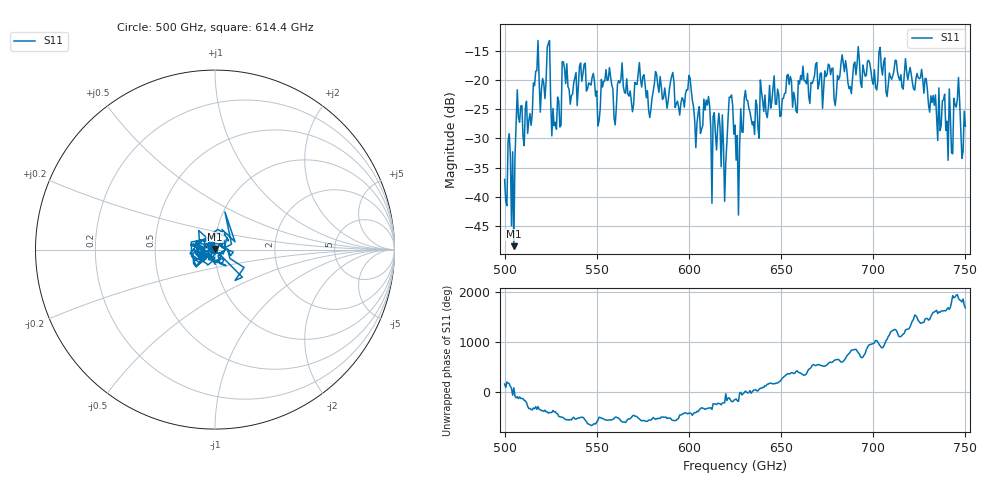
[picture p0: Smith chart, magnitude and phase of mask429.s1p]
!Created with skrf (http://scikit-rf.org).
# GHz S MA R 50.0
!freq magS11 angS11
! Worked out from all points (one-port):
!   401 points, 500 GHz to 750 GHz, reference 50 ohm
!   lowest |S11| = -48.4 dB at 505 GHz (marker M1), VSWR 1.01, Z = 50 + j0.379 ohm
!   |S11| at or under -10 dB: start of sweep to end of sweep
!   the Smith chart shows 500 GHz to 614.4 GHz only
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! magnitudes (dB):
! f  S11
! 500 GHz  -37.0
! 505 GHz  -48.4
! 507.5 GHz  -26.4
! 513.8 GHz  -25.8
! 516.9 GHz  -18.5
! 520.6 GHz  -19.8
! 523.8 GHz  -13.8
! 526.9 GHz  -27.9
! 531.2 GHz  -16.9
! 542.5 GHz  -18.9
! 550.6 GHz  -27.9
! 562.5 GHz  -20.5
! 578.8 GHz  -26.4
! 590.6 GHz  -19.4
! 593.8 GHz  -23.6
! 609.4 GHz  -23.5
! 618.8 GHz  -31.2
! 622.5 GHz  -23.0
! 625 GHz  -27.7
! 626.2 GHz  -29.5
! 631.2 GHz  -23.5
! 634.4 GHz  -27.7
! 656.2 GHz  -24.7
! 680 GHz  -22.4
! 683.8 GHz  -17.1
! 687.5 GHz  -21.1
! 718.8 GHz  -20.0
! 750 GHz  -27.9
